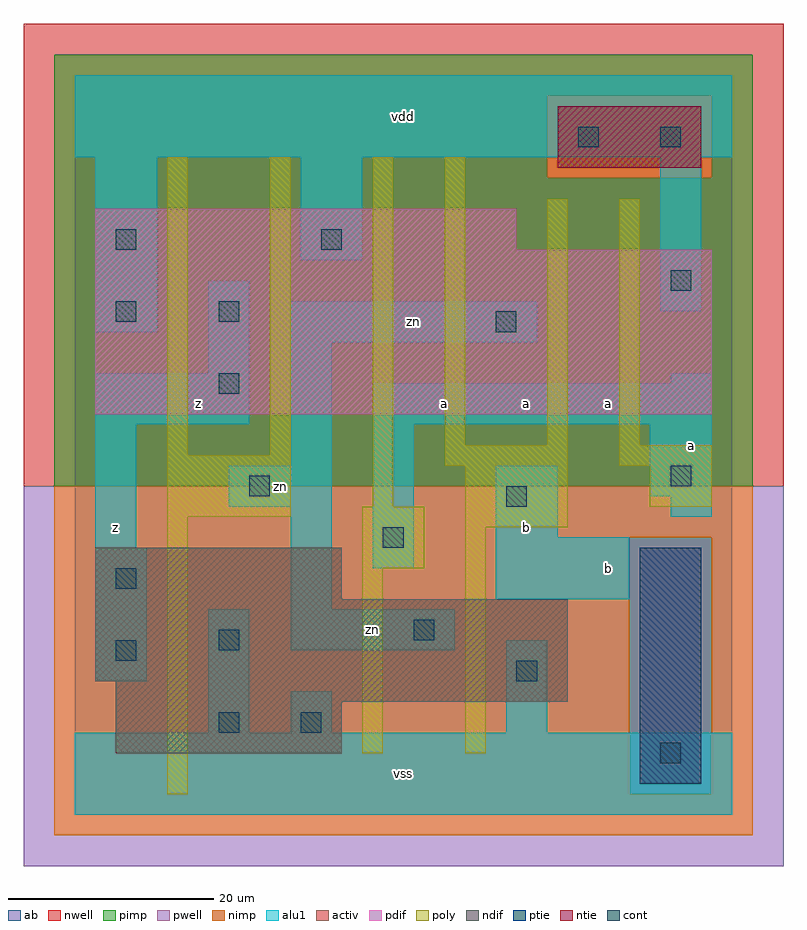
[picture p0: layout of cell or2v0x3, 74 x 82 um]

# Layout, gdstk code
import gdstk
lib = gdstk.Library(unit=1e-6, precision=1e-09)
def R(c, l, rs):  # rectangles x0, y0, x1, y1
    for r in rs: c.add(gdstk.rectangle(r[:2], r[2:], *l))
ndif = (3, 0)
pdif = (4, 0)
ntie = (5, 0)
ptie = (6, 0)
cont = (25, 0)
pwell = (41, 0)
nwell = (42, 0)
activ = (43, 0)
pimp = (44, 0)
nimp = (45, 0)
poly = (46, 0)
alu1 = (49, 0)
ab = (63, 0)

or2v0x3 = lib.new_cell('or2v0x3')
R(or2v0x3, ndif, [(4,6,26,11), (4,11,48,13), (2,13,48,21), (2,21,26,26)])
R(or2v0x3, pdif, [(2,39,62,55), (2,55,43,59)])
R(or2v0x3, ntie, [(47,63,61,69)])
R(or2v0x3, ptie, [(55,3,61,26)])
R(or2v0x3, cont, [(57,5,59,7), (14,8,16,10), (22,8,24,10), (43,13,45,15), (4,15,6,17), (14,16,16,18), (33,17,35,19), (4,22,6,24), (30,26,32,28), (42,30,44,32), (17,31,19,33), (58,32,60,34), (14,41,16,43), (41,47,43,49), (4,48,6,50), (14,48,16,50), (58,51,60,53), (4,55,6,57), (24,55,26,57), (49,65,51,67), (57,65,59,67)])
R(or2v0x3, pwell, [(-5,-5,69,32)])
R(or2v0x3, nwell, [(-5,32,69,77)])
R(or2v0x3, activ, [(55,3,61,26), (4,6,26,11), (4,11,48,13), (2,13,48,21), (2,21,26,26), (2,39,62,55), (2,55,43,59), (47,63,61,69)])
R(or2v0x3, pimp, [(54,2,62,27), (-2,32,66,62), (-2,62,46,70), (62,62,66,70), (-2,70,66,74)])
R(or2v0x3, nimp, [(-2,-2,66,2), (-2,2,54,27), (62,2,66,27), (-2,27,66,32), (46,62,62,70)])
R(or2v0x3, poly, [(9,2,11,29), (28,6,30,24), (38,6,40,28), (28,24,34,30), (38,28,48,34), (9,29,21,35), (29,30,31,64), (56,30,62,34), (36,34,48,36), (53,34,62,36), (9,35,11,64), (19,35,21,64), (36,36,38,64), (46,36,48,60), (53,36,55,60)])
R(or2v0x3, alu1, [(0,0,64,8), (13,8,17,20), (21,8,25,12), (42,8,46,17), (2,13,7,26), (21,16,37,20), (21,20,25,30), (41,21,54,27), (29,24,33,38), (2,26,6,38), (41,27,47,34), (58,29,62,31), (15,30,25,34), (56,31,62,38), (21,34,25,46), (2,38,17,43), (29,38,62,42), (58,42,62,43), (13,43,17,52), (21,46,45,50), (2,47,8,64), (57,49,61,64), (22,54,28,64), (0,64,64,72)])
R(or2v0x3, ab, [(0,0,64,72)])
or2v0x3.add(gdstk.Label('zn', (29,18), layer=49, texttype=0))
or2v0x3.add(gdstk.Label('zn', (20,32), layer=49, texttype=0))
or2v0x3.add(gdstk.Label('zn', (33,48), layer=49, texttype=0))
or2v0x3.add(gdstk.Label('z', (4,28), layer=49, texttype=0))
or2v0x3.add(gdstk.Label('z', (12,40), layer=49, texttype=0))
or2v0x3.add(gdstk.Label('vss', (32,4), layer=49, texttype=0))
or2v0x3.add(gdstk.Label('b', (44,28), layer=49, texttype=0))
or2v0x3.add(gdstk.Label('a', (44,40), layer=49, texttype=0))
or2v0x3.add(gdstk.Label('a', (36,40), layer=49, texttype=0))
or2v0x3.add(gdstk.Label('vdd', (32,68), layer=49, texttype=0))
or2v0x3.add(gdstk.Label('b', (52,24), layer=49, texttype=0))
or2v0x3.add(gdstk.Label('a', (60,36), layer=49, texttype=0))
or2v0x3.add(gdstk.Label('a', (52,40), layer=49, texttype=0))

lib.write_gds('or2v0x3.gds')
